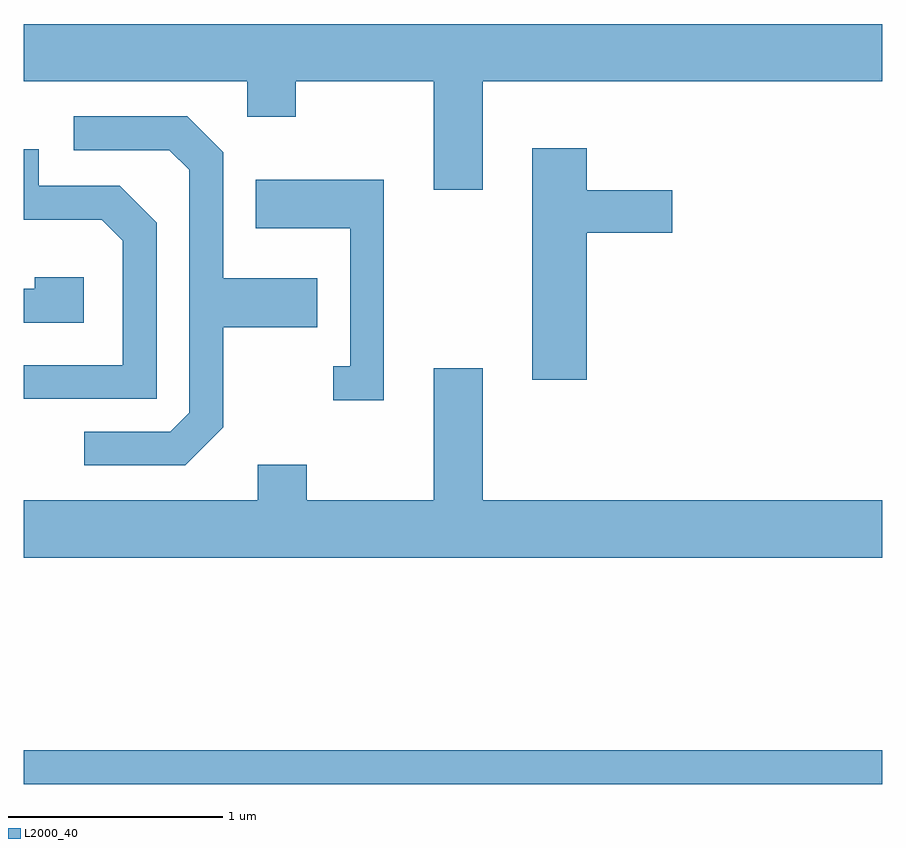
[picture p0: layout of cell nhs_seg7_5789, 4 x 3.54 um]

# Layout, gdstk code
import gdstk
lib = gdstk.Library(unit=1e-6, precision=1e-09)
def R(c, l, rs):  # rectangles x0, y0, x1, y1
    for r in rs: c.add(gdstk.rectangle(r[:2], r[2:], *l))
def P(c, l, *ps):  # polygons
    for p in ps: c.add(gdstk.Polygon(p, *l))
L2000_40 = (2000, 40)

nhs_seg7_5789 = lib.new_cell('nhs_seg7_5789')
R(nhs_seg7_5789, L2000_40, [(361.611,1766.541,365.611,1766.699)])
P(nhs_seg7_5789, L2000_40, [(363.749,1769.816),(365.611,1769.816),(365.611,1770.084),(361.611,1770.084),(361.611,1769.816),(362.651,1769.816),(362.651,1769.651),(362.879,1769.651),(362.879,1769.816),(363.521,1769.816),(363.521,1769.311),(363.749,1769.311)],
  [(362.539,1768.204),(362.539,1768.671),(362.979,1768.671),(362.979,1768.899),(362.539,1768.899),(362.539,1769.487),(362.372,1769.654),(361.843,1769.654),(361.843,1769.496),(362.289,1769.496),(362.381,1769.404),(362.381,1768.272),(362.294,1768.184),(361.893,1768.184),(361.893,1768.026),(362.362,1768.026)],
  [(364.234,1769.111),(364.634,1769.111),(364.634,1769.309),(364.234,1769.309),(364.234,1769.504),(363.981,1769.504),(363.981,1768.426),(364.234,1768.426)],
  [(362.229,1769.157),(362.057,1769.329),(361.679,1769.329),(361.679,1769.499),(361.611,1769.499),(361.611,1769.171),(361.974,1769.171),(362.071,1769.074),(362.071,1768.494),(361.611,1768.494),(361.611,1768.336),(362.229,1768.336)],
  [(363.289,1769.359),(362.691,1769.359),(362.691,1769.131),(363.131,1769.131),(363.131,1768.489),(363.053,1768.489),(363.053,1768.331),(363.289,1768.331)],
  [(361.889,1768.904),(361.661,1768.904),(361.661,1768.849),(361.611,1768.849),(361.611,1768.691),(361.889,1768.691)],
  [(365.611,1767.864),(363.749,1767.864),(363.749,1768.479),(363.521,1768.479),(363.521,1767.864),(362.929,1767.864),(362.929,1768.029),(362.701,1768.029),(362.701,1767.864),(361.611,1767.864),(361.611,1767.596),(365.611,1767.596)])

lib.write_gds('nhs_seg7_5789.gds')
